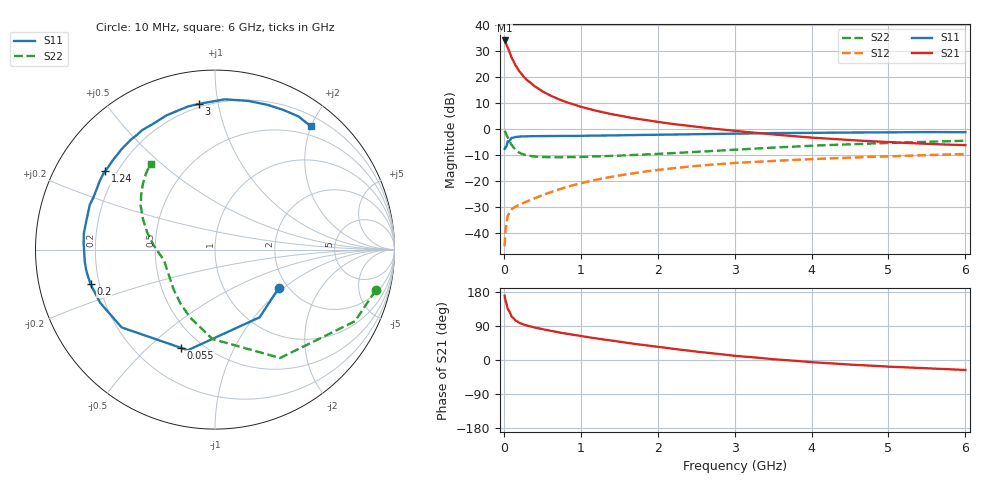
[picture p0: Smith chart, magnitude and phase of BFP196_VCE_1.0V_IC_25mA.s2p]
! Infineon Technologies  Discrete & RF Semiconductors
! BFP196
! VCE = 1.0 V,  IC =  25mA
! Common Emitter S-Parameters:  Jan 2016
# GHz  S  MA  R  50
!  f  S11  S21  S12  S22
! GHz  MAG  ANG  MAG  ANG  MAG  ANG  MAG  ANG
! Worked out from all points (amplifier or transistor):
!   210 points, 10 MHz to 6 GHz, reference 50 ohm
!   highest |S21| = 34.0 dB at 10 MHz (marker M1)
!   |S21| within 3 dB of that: start of sweep to 54.95 MHz
!   unconditionally stable (mu >= 1): 564.4 MHz to 5.266 GHz; 5.642 GHz to end of sweep
!   at 185 MHz: K = 0.56, MSG = 26.1 dB, |S12| = -29.3 dB
!   at 1.52 GHz: K = 1.11, MAG = 9.4 dB, |S12| = -17.7 dB
!   at 6 GHz: K = 1.01, MAG = 1.0 dB, |S12| = -9.6 dB
!   S11 on the Smith chart (normalised r, x): 10 MHz: 1.81, -0.92; 55 MHz: 0.39, -0.64; 200 MHz: 0.17, -0.13; 1.24 GHz: 0.16, +0.31; 3 GHz: 0.18, +0.88; 6 GHz: 0.35, +1.99
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0.01  0.4149 -30.7  49.93 169.5  0.0057 79.7  0.9239 -14.2
0.02  0.4518 -56.6  47.05 158.3  0.0109 71.0  0.876 -27.1
0.05  0.5805 -105.1  36.79 135.0  0.0215 52.2  0.7044 -59.0
0.055  0.5792 -109.0  35.33 133.7  0.0222 50.9  0.6764 -61.3
0.1  0.6773 -140.2  23.62 114.7  0.029 42.2  0.4981 -91.7
0.15  0.7052 -155.2  16.75 104.5  0.0326 39.0  0.4024 -110.3
0.2  0.7194 -164.4  12.91 98.3  0.0352 40.7  0.3549 -123.1
0.24  0.7246 -169.2  10.88 95.0  0.0376 41.8  0.3328 -130.5
0.3  0.7285 -174.8  8.721 90.7  0.041 44.5  0.3142 -138.7
0.4  0.732 177.9  6.609 85.6  0.047 47.6  0.2976 -148.3
0.5  0.7364 173.2  5.295 81.3  0.0541 50.8  0.291 -154.5
0.6  0.7347 168.3  4.418 77.2  0.0609 52.4  0.2886 -158.6
0.7  0.7361 163.9  3.808 73.2  0.0684 53.7  0.2882 -161.7
1.02  0.7426 151.7  2.633 62.8  0.0931 54.2  0.2933 -168.7
1.24  0.7522 144.3  2.178 55.9  0.1099 53.0  0.3004 -172.3
1.62  0.7644 132.5  1.678 44.9  0.1378 49.3  0.3154 -177.2
2.02  0.7794 120.9  1.361 34.3  0.1658 44.3  0.3359 177.5
3  0.8171 96.2  0.925 11.1  0.2242 31.1  0.402 163.3
3.1  0.8195 94.2  0.896 9.5  0.2283 29.7  0.4093 161.8
4.1  0.8495 76.0  0.672 -6.9  0.2691 17.3  0.4868 148.1
5.1  0.8677 62.5  0.555 -18.3  0.3038 6.2  0.5471 136.8
6  0.8702 52.3  0.492 -26.3  0.3327 -3.7  0.5976 126.9
